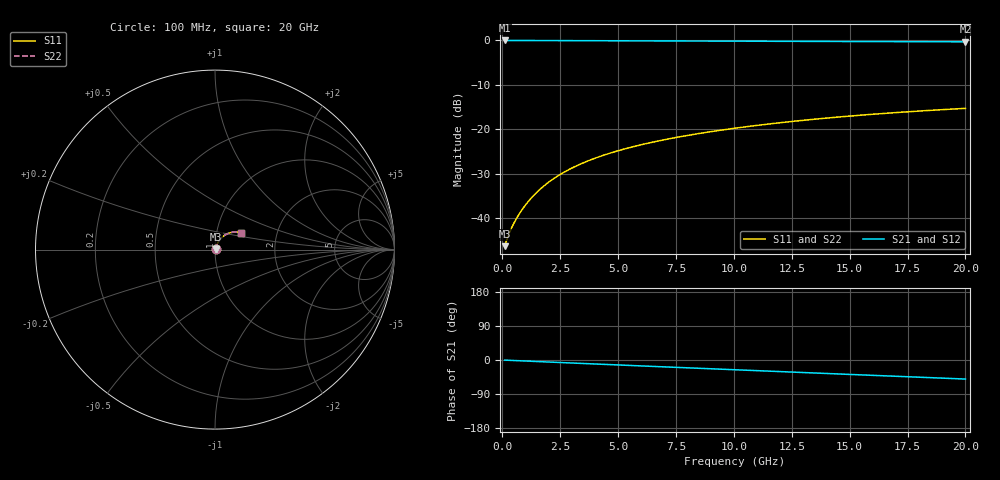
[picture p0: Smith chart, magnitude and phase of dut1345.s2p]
! Touchstone file exported from HFSS 2026.1.0
!  File:  C:/ffzhzh/LocalFiles/Ansys_Project_Files/temp_train_BSMRDL_1345_1783178933_43440.aedt
!  Generated:  11:30:16 PM Jul  4, 2026
!  Design:  BSMRDL
!  Project:  temp_train_BSMRDL_1345_1783178933_43440
! Variables:
!  h_bsmrdl = 5.69um
!  h_ox = 20um
!  h_rdl = 5um
!  h_sub = 80um
!  h_tmrdl = 5um
!  h_tsv = 80um
!  h_via = 3um
!  l_bsmrdl = 909.61um
!  l_sub = 1309.61um
!  l_tmrdl = 200um
!  m_sub = 200um
!  pitch = 20.24um
!  r_tsv = 6um
!  s_tmrdl = 10um
!  w_bsmrdl = 12.7um
!  w_sub = 500um
!  w_tmrdl = 12um
!  x_tsv_center1 = 206um
!  x_tsv_center2 = 1128.31um
!  x_tsv_center3 = 1340.31um
!  x_tsv_center4 = 2262.62um
!  x_tsv_center5 = 2474.62um
!  x_tsv_center6 = 3396.93um
# GHz S MA R 50.000000
! Terminal data exported
! Port[1] = BSM_RDL1_1_T1
! Port[2] = BSM_RDL1_1_T2
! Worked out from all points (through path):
!   200 points, 100 MHz to 20 GHz, reference 50 ohm
!   highest |S21| = -0.04 dB at 100 MHz (marker M1); lowest = -0.3 dB at 20 GHz (marker M2)
!   group delay of S21, straight-line fit = 6.95 ps
!   lowest |S11| = -46.3 dB at 100 MHz (marker M3), VSWR 1.01, Z = 50.5 + j0.166 ohm
!   |S11| at or under -10 dB: start of sweep to end of sweep
!   |S22| runs from -46.3 to -15.3 dB; largest |S21 - S12| = 2.7e-15
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0.1  0.004869 19.7  0.9954 -0.3  0.9954 -0.3  0.004869 19.7
! Gamma 0 0 0 0
! Port Impedance 50 0 50 0
0.3  0.006813 39.7  0.9948 -0.8  0.9948 -0.8  0.006813 39.7
0.4  0.00781 45.1  0.9946 -1.1  0.9946 -1.1  0.00781 45.1
0.6  0.00982 52.7  0.9943 -1.6  0.9943 -1.6  0.00982 52.7
0.9  0.013 59.9  0.9939 -2.4  0.9939 -2.4  0.013 59.9
1.1  0.01521 62.8  0.9937 -3.0  0.9937 -3.0  0.01521 62.8
1.3  0.01746 64.8  0.9934 -3.5  0.9934 -3.5  0.01746 64.8
1.5  0.01974 66.2  0.9932 -4.0  0.9932 -4.0  0.01974 66.2
1.8  0.02317 67.5  0.9927 -4.8  0.9927 -4.8  0.02317 67.5
2.3  0.02886 68.4  0.9919 -6.1  0.9919 -6.1  0.02886 68.4
2.9  0.03555 68.3  0.9908 -7.7  0.9908 -7.7  0.03555 68.3
3.5  0.04205 67.6  0.9896 -9.3  0.9896 -9.3  0.04205 67.6
4.2  0.04938 66.4  0.9881 -11.1  0.9881 -11.1  0.04938 66.4
5  0.05744 64.9  0.9864 -13.1  0.9864 -13.1  0.05744 64.9
5.9  0.06616 63.1  0.9846 -15.4  0.9846 -15.4  0.06617 63.1
6.8  0.07457 61.2  0.9828 -17.7  0.9828 -17.7  0.07458 61.2
8.3  0.08802 58.1  0.98 -21.4  0.98 -21.4  0.08803 58.1
10.1  0.1033 54.3  0.9769 -25.9  0.9769 -25.9  0.1034 54.3
11.7  0.1163 50.9  0.9741 -29.9  0.9741 -29.9  0.1163 50.9
13.4  0.1293 47.2  0.9713 -34.1  0.9713 -34.1  0.1293 47.1
16.7  0.1522 39.9  0.9661 -42.2  0.9661 -42.2  0.1523 39.8
20  0.1719 32.5  0.9613 -50.3  0.9613 -50.3  0.172 32.4
